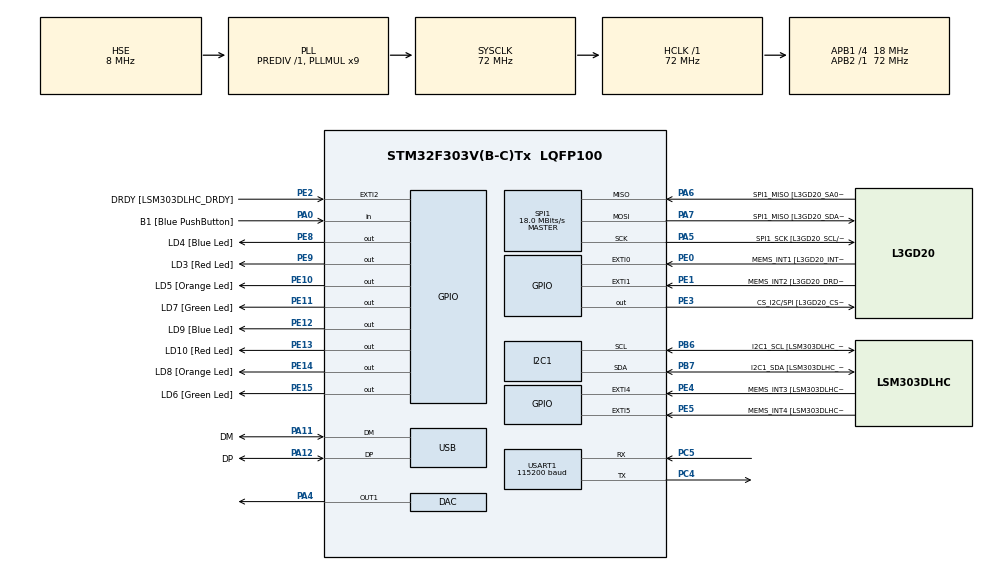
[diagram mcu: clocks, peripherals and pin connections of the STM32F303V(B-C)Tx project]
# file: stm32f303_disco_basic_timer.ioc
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DAC.DAC_Trigger=DAC_TRIGGER_T6_TRGO
Dma.DAC_CH1.0.Direction=DMA_MEMORY_TO_PERIPH
Dma.DAC_CH1.0.Instance=DMA1_Channel3
Dma.DAC_CH1.0.MemDataAlignment=DMA_MDATAALIGN_HALFWORD
Dma.DAC_CH1.0.MemInc=DMA_MINC_ENABLE
Dma.DAC_CH1.0.Mode=DMA_CIRCULAR
Dma.DAC_CH1.0.PeriphDataAlignment=DMA_PDATAALIGN_HALFWORD
Dma.DAC_CH1.0.PeriphInc=DMA_PINC_DISABLE
Dma.DAC_CH1.0.Priority=DMA_PRIORITY_LOW
Dma.Request0=DAC_CH1
I2C1.Timing-I2C=0x2000090E
Mcu.Family=STM32F3
Mcu.Name=STM32F303V(B-C)Tx
Mcu.Package=LQFP100
NVIC.DMA1_Channel3_IRQn=true\:0\:0\:false\:false\:true\:false\:true\:true
NVIC.PriorityGroup=NVIC_PRIORITYGROUP_0
NVIC.TIM7_IRQn=true\:0\:0\:false\:false\:true\:true\:true\:true
PA0.GPIO_Label=B1 [Blue PushButton]
PA0.Signal=GPIO_Input
PA11.GPIO_Label=DM
PA11.Mode=Device
PA11.Signal=USB_DM
PA12.GPIO_Label=DP
PA12.Mode=Device
PA12.Signal=USB_DP
PA13.GPIO_Label=SWDIO
PA13.Mode=Serial_Wire
PA13.Signal=SYS_JTMS-SWDIO
PA14.GPIO_Label=SWCLK
PA14.Mode=Serial_Wire
PA14.Signal=SYS_JTCK-SWCLK
PA4.Signal=COMP_DAC1_group
PA5.GPIO_Label=SPI1_SCK [L3GD20_SCL/SPC]
PA5.Mode=Full_Duplex_Master
PA5.Signal=SPI1_SCK
PA6.GPIO_Label=SPI1_MISO [L3GD20_SA0/SDO]
PA6.Mode=Full_Duplex_Master
PA6.Signal=SPI1_MISO
PA7.GPIO_Label=SPI1_MISO [L3GD20_SDA/SDI/SDO]
PA7.Mode=Full_Duplex_Master
PA7.Signal=SPI1_MOSI
PB3.GPIO_Label=SWO
PB3.Signal=SYS_JTDO-TRACESWO
PB6.GPIO_Label=I2C1_SCL [LSM303DLHC_SCL]
PB6.GPIO_Pu=GPIO_PULLUP
PB6.Mode=I2C
PB6.Signal=I2C1_SCL
PB7.GPIO_Label=I2C1_SDA [LSM303DLHC_SDA]
PB7.GPIO_Pu=GPIO_PULLUP
PB7.Mode=I2C
PB7.Signal=I2C1_SDA
PC14-OSC32_IN.GPIO_Label=OSC32_IN
PC14-OSC32_IN.Signal=RCC_OSC32_IN
PC15-OSC32_OUT.GPIO_Label=OSC32_OUT
PC15-OSC32_OUT.Signal=RCC_OSC32_OUT
PC4.Mode=Asynchronous
PC4.Signal=USART1_TX
PC5.Mode=Asynchronous
PC5.Signal=USART1_RX
PE0.GPIO_Label=MEMS_INT1 [L3GD20_INT1]
PE0.GPIO_ModeDefaultEXTI=GPIO_MODE_EVT_RISING
PE0.Signal=GPXTI0
PE1.GPIO_Label=MEMS_INT2 [L3GD20_DRDY/INT2]
PE1.GPIO_ModeDefaultEXTI=GPIO_MODE_EVT_RISING
PE1.Signal=GPXTI1
PE10.GPIO_Label=LD5 [Orange Led]
PE10.Signal=GPIO_Output
PE11.GPIO_Label=LD7 [Green Led]
PE11.Signal=GPIO_Output
PE12.GPIO_Label=LD9 [Blue Led]
PE12.Signal=GPIO_Output
PE13.GPIO_Label=LD10 [Red Led]
PE13.Signal=GPIO_Output
PE14.GPIO_Label=LD8 [Orange Led]
PE14.Signal=GPIO_Output
PE15.GPIO_Label=LD6 [Green Led]
PE15.Signal=GPIO_Output
PE2.GPIO_Label=DRDY [LSM303DLHC_DRDY]
PE2.GPIO_ModeDefaultEXTI=GPIO_MODE_EVT_RISING
PE2.Signal=GPXTI2
PE3.GPIO_Label=CS_I2C/SPI [L3GD20_CS_I2C/SPI]
PE3.Signal=GPIO_Output
PE4.GPIO_Label=MEMS_INT3 [LSM303DLHC_INT1]
PE4.GPIO_ModeDefaultEXTI=GPIO_MODE_EVT_RISING
PE4.Signal=GPXTI4
PE5.GPIO_Label=MEMS_INT4 [LSM303DLHC_INT2]
PE5.GPIO_ModeDefaultEXTI=GPIO_MODE_EVT_RISING
PE5.Signal=GPXTI5
PE8.GPIO_Label=LD4 [Blue Led]
PE8.Signal=GPIO_Output
PE9.GPIO_Label=LD3 [Red Led]
PE9.Signal=GPIO_Output
PF0-OSC_IN.GPIO_Label=OSC_IN
PF0-OSC_IN.Mode=HSE-External-Clock-Source
PF0-OSC_IN.Signal=RCC_OSC_IN
PF1-OSC_OUT.GPIO_Label=OSC_OUT
PF1-OSC_OUT.Signal=RCC_OSC_OUT
ProjectManager.HeapSize=0x200
ProjectManager.StackSize=0x400
ProjectManager.TargetToolchain=STM32CubeIDE
RCC.AHBFreq_Value=72000000
RCC.APB1CLKDivider=RCC_HCLK_DIV4
RCC.APB1Freq_Value=18000000
RCC.APB1TimFreq_Value=36000000
RCC.APB2Freq_Value=72000000
RCC.APB2TimFreq_Value=72000000
RCC.CortexFreq_Value=72000000
RCC.HCLKFreq_Value=72000000
RCC.HSE_VALUE=8000000
RCC.HSI_VALUE=8000000
RCC.LSE_VALUE=32768
RCC.PLLMUL=RCC_PLL_MUL9
RCC.PRESCALERUSB=RCC_USBCLKSOURCE_PLL_DIV1_5
RCC.SYSCLKFreq_VALUE=72000000
RCC.SYSCLKSourceVirtual=RCC_SYSCLKSOURCE_PLLCLK
RCC.USBFreq_Value=48000000
RCC.Usart1ClockSelection=RCC_USART1CLKSOURCE_SYSCLK
SH.COMP_DAC1_group.0=DAC_OUT1,DAC_OUT1
SPI1.BaudRatePrescaler=SPI_BAUDRATEPRESCALER_4
SPI1.BaudRatePrescaler-Full_Duplex_Master=SPI_BAUDRATEPRESCALER_2
SPI1.CalculateBaudRate=18.0 MBits/s
SPI1.CalculateBaudRate-Full_Duplex_Master=24.0 MBits/s
SPI1.Direction=SPI_DIRECTION_2LINES
SPI1.Mode=SPI_MODE_MASTER
SPI1.Mode-Full_Duplex_Master=SPI_MODE_MASTER
SPI1.VirtualType=VM_MASTER
TIM6.AutoReloadPreload=TIM_AUTORELOAD_PRELOAD_DISABLE
TIM6.Period=500-1
TIM6.Prescaler=36000-1
TIM6.TIM_MasterOutputTrigger=TIM_TRGO_UPDATE
TIM7.Period=1000-1
TIM7.Prescaler=36000-1
USART1.BaudRate=115200
USART1.VirtualMode-Asynchronous=VM_ASYNC
VP_TIM6_VS_ClockSourceINT.Mode=Enable_Timer
VP_TIM7_VS_ClockSourceINT.Mode=Enable_Timer
VP_TIM7_VS_OPM.Mode=OPM_bit
board=STM32F3DISCOVERY

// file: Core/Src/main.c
/* USER CODE BEGIN Header */
/**
  ******************************************************************************
  * @file           : main.c
  * @brief          : Main program body
  ******************************************************************************
  * @attention
  *
  * Copyright (c) 2023 STMicroelectronics.
  * All rights reserved.
  *
  * This software is licensed under terms that can be found in the LICENSE file
  * in the root directory of this software component.
  * If no LICENSE file comes with this software, it is provided AS-IS.
  *
  ******************************************************************************
  */
/* USER CODE END Header */
#include "main.h"
#include "dac.h"
#include "dma.h"
#include "i2c.h"
#include "spi.h"
#include "tim.h"
#include "usart.h"
#include "gpio.h"

/* USER CODE BEGIN Includes */

#include <stdint.h>
#include <stdbool.h>
#include <stdio.h>
#include <stdlib.h>
#include <string.h>
#include "usb.h"

/* USER CODE END Includes */

/* USER CODE BEGIN PV */

int __io_putchar(int ch) {
	uint8_t u8 = ch;
	HAL_StatusTypeDef ret = HAL_UART_Transmit(&huart1, &u8, 1, HAL_MAX_DELAY);
	if(ret == HAL_OK) {
		return 0;
	} else {
		return -1;
	}
}

int __io_getchar(void) {
	uint8_t ch = 0;
	HAL_StatusTypeDef hstatus1;
	HAL_StatusTypeDef hstatus2;
	__HAL_UART_CLEAR_OREFLAG(&huart1);
	hstatus1 = HAL_UART_Receive(&huart1, (uint8_t *)&ch, 1, HAL_MAX_DELAY);
	hstatus2 = HAL_UART_Transmit(&huart1, (uint8_t *)&ch, 1, HAL_MAX_DELAY);
	if((hstatus1 == HAL_OK) && (hstatus2 == HAL_OK)) {
		return ch;
	}
	return -1;
}

// TIM6_DAC_IRQHandler defined as weak symbol in startup.s
// no need to place function pointer in NVIC table
void TIM6_DAC_IRQHandler(void) {
	TIM6->SR = 0;
	HAL_GPIO_TogglePin(LD10_GPIO_Port, LD10_Pin);
	//HAL_TIM_IRQHandler(&htim6);
	//NVIC_ClearPendingIRQ(TIM6_DAC_IRQn);
}

/* USER CODE END PV */

void SystemClock_Config(void);

int main(void)
{

  /* MCU Configuration--------------------------------------------------------*/

  /* Reset of all peripherals, Initializes the Flash interface and the Systick. */
  HAL_Init();

  /* Configure the system clock */
  SystemClock_Config();

  /* Initialize all configured peripherals */
  MX_GPIO_Init();
  MX_DMA_Init();
  MX_I2C1_Init();
  MX_SPI1_Init();
  MX_USB_PCD_Init();
  MX_TIM6_Init();
  MX_TIM7_Init();
  MX_USART1_UART_Init();
  MX_DAC_Init();

  /* Infinite loop */
  /* USER CODE BEGIN WHILE */

  // scanf buffer disabled => _IONBF
  //setvbuf(stdin, NULL, _IONBF, 0);
  // scanf buffer user provided => _IOFBF, evaluated only when full
  uint8_t stdin_buffer[1] = {0};
  setvbuf(stdin, (char*)&stdin_buffer[0], _IOFBF, sizeof(stdin_buffer));

  // NVIC->IP[240] interrupt priority
  // NVIC->ICER[8] clear-enable
  // NVIC->ISER[8] set-enable
  // NVIC->ICPR[8] clear-pending
  // NVIC->ISPR[8] set-pending
  // NVIC->IABR[8] active?

  //HAL_TIM_Base_Start(&htim6); 	// enable timer only
  HAL_TIM_Base_Start_IT(&htim6); 	// enable timer and interrupt
  //TIM6->DIER |= TIM_DIER_UIE; 	// enable interrupt on update event
  //TIM6->CR1 |= TIM_CR1_CEN; 	// enable timer
  HAL_NVIC_EnableIRQ(TIM6_DAC_IRQn); 	// 54 --> refman NVIC vector table

  HAL_TIM_Base_Start_IT(&htim7);
  //HAL_TIMEx_OnePulseN_Start_IT(&htim7, TIM_CHANNEL_1);
  HAL_NVIC_EnableIRQ(TIM7_IRQn); 		// 55 --> refman NVIC vector table

  //HAL_DAC_Start(&hdac, DAC1_CHANNEL_1);
  uint16_t dac_value[16] = {0x0FF, 0x1FF, 0x2FF, 0x3FF, 0x4FF, 0x5FF, 0x6FF, 0x7FF,
		  	  	  	  	    0x8FF, 0x9FF, 0xAFF, 0xBFF,0xCFF, 0xDFF, 0xEFF, 0xFFF};
  HAL_DAC_Start_DMA(&hdac, DAC1_CHANNEL_1, (uint32_t *)&dac_value[0], 16, DAC_ALIGN_12B_R);
  // tim6: Triger Event Selection must be changed to Update Event
  // dac: DAC trigger must be set to Timer6 trigger out event

  uint32_t arr = 500-1;
  uint32_t cnt = 0;
  uint32_t cmd = 0;
  while (1) {
	  HAL_Delay(100);
	  cnt += 1;
	  printf("cnt=%lu, arr=%lu, tim6=%3lu, tim7=%3lu\n", cnt, arr+1, TIM6->CNT, TIM7->CNT);

	  // DMA to DAC1_OUT1
	  //uint32_t dac_value = TIM6->CNT;
	  //uint32_t dac_value = 4095;
	  //HAL_DAC_Start_DMA(&hdac, DAC1_CHANNEL_1, &dac_value, 1, DAC_ALIGN_12B_R);

	  // without DMA
	  //HAL_DAC_SetValue(&hdac, DAC1_CHANNEL_1, DAC_ALIGN_12B_L, 4095<<4);
	  //HAL_DAC_SetValue(&hdac, DAC1_CHANNEL_1, DAC_ALIGN_12B_R, 4095);
	  //HAL_DAC_SetValue(&hdac, DAC1_CHANNEL_1, DAC_ALIGN_8B_R, 255);

	  if(USART1->ISR & USART_ISR_RXNE) {
		  printf(">>> input: ");
		  //
		  //uint8_t b[4] = {0};
		  //fgets((char*)&b[0], 4, stdin);
		  //sscanf((char*)&b[0], "%lu", &cmd);
		  //
		  //uint8_t u8 = 0;
		  //scanf("%01hhd", &u8);
		  //cmd = u8;
		  //scanf("%01lu", &cmd);
		  //
		  //cmd = 0;
		  //fread(&cmd, 1, 1, stdin);
		  //cmd -= '0';
		  //
		  cmd = getchar();
		  cmd -= '0';
		  //
		  printf("<<< input: %lu\n", cmd);
		  switch(cmd) {
		  case 0:
			  // debug
			  HAL_GPIO_TogglePin(LD3_GPIO_Port, LD3_Pin);
			  break;
		  case 1:
			  // reset cnt
			  cnt = 0;
			  break;
		  case 2:
			  if(arr < 9900) {
				  arr += 100;
			  }
			  __disable_irq();
			  HAL_TIM_Base_Stop_IT(&htim6);
			  TIM6->CNT = 0;
			  TIM6->ARR = arr; 	// 0.1s longer
			  HAL_TIM_Base_Start_IT(&htim6);
			  __enable_irq();
			  break;
		  case 3:
			  if(arr > 100) {
				  arr -= 100;
			  }
			  __disable_irq();
			  HAL_TIM_Base_Stop_IT(&htim6);
			  TIM6->CNT = 0;
			  TIM6->ARR = arr; 	// 0.1 shorter
			  HAL_TIM_Base_Start_IT(&htim6);
			  __enable_irq();
			  break;
		  case 4:
			  // basic counter in OPM mode clear CEN when on update event
			  // timer value runs from 0 to ARR and stops => CEN is cleared
			  TIM7->CR1 |= TIM_CR1_CEN;
			  // HAL_TIM_Base_Start(&htim7); 	// not working
			  // HAL_TIM_Base_Start_IT(&htim7); 	// not working
			  //TIM7->EGR = 0; 	// not working
			  break;
		  case 5:
			  TIM7->EGR = 1; 	// generate update event with software
			  break;
		  case 6:
			  TIM7->CR1 |= TIM_CR1_URS_Msk; 	// setting UG will not call interrupt
			  break;
		  case 7:
			  TIM7->CR1 &= ~TIM_CR1_URS_Msk; 	// setting UG will call interrupt
			  break;
		  case 8:
			  TIM7->CR1 &= ~TIM_CR1_UDIS_Msk; 	// update events enabled
			  break;
		  case 9:
			  TIM7->CR1 |= TIM_CR1_UDIS_Msk; 	// update events disabled
			  break;
		  default:
			  break;
		  }
	  }

    /* USER CODE END WHILE */

  }
}

void SystemClock_Config(void)
{
  RCC_OscInitTypeDef RCC_OscInitStruct = {0};
  RCC_ClkInitTypeDef RCC_ClkInitStruct = {0};
  RCC_PeriphCLKInitTypeDef PeriphClkInit = {0};

  /** Initializes the RCC Oscillators according to the specified parameters
  * in the RCC_OscInitTypeDef structure.
  */
  RCC_OscInitStruct.OscillatorType = RCC_OSCILLATORTYPE_HSI|RCC_OSCILLATORTYPE_HSE;
  RCC_OscInitStruct.HSEState = RCC_HSE_BYPASS;
  RCC_OscInitStruct.HSEPredivValue = RCC_HSE_PREDIV_DIV1;
  RCC_OscInitStruct.HSIState = RCC_HSI_ON;
  RCC_OscInitStruct.HSICalibrationValue = RCC_HSICALIBRATION_DEFAULT;
  RCC_OscInitStruct.PLL.PLLState = RCC_PLL_ON;
  RCC_OscInitStruct.PLL.PLLSource = RCC_PLLSOURCE_HSE;
  RCC_OscInitStruct.PLL.PLLMUL = RCC_PLL_MUL9;
  if (HAL_RCC_OscConfig(&RCC_OscInitStruct) != HAL_OK)
  {
    Error_Handler();
  }

  /** Initializes the CPU, AHB and APB buses clocks
  */
  RCC_ClkInitStruct.ClockType = RCC_CLOCKTYPE_HCLK|RCC_CLOCKTYPE_SYSCLK
                              |RCC_CLOCKTYPE_PCLK1|RCC_CLOCKTYPE_PCLK2;
  RCC_ClkInitStruct.SYSCLKSource = RCC_SYSCLKSOURCE_PLLCLK;
  RCC_ClkInitStruct.AHBCLKDivider = RCC_SYSCLK_DIV1;
  RCC_ClkInitStruct.APB1CLKDivider = RCC_HCLK_DIV4;
  RCC_ClkInitStruct.APB2CLKDivider = RCC_HCLK_DIV1;

  if (HAL_RCC_ClockConfig(&RCC_ClkInitStruct, FLASH_LATENCY_2) != HAL_OK)
  {
    Error_Handler();
  }
  PeriphClkInit.PeriphClockSelection = RCC_PERIPHCLK_USB|RCC_PERIPHCLK_USART1
                              |RCC_PERIPHCLK_I2C1;
  PeriphClkInit.Usart1ClockSelection = RCC_USART1CLKSOURCE_SYSCLK;
  PeriphClkInit.I2c1ClockSelection = RCC_I2C1CLKSOURCE_HSI;
  PeriphClkInit.USBClockSelection = RCC_USBCLKSOURCE_PLL_DIV1_5;
  if (HAL_RCCEx_PeriphCLKConfig(&PeriphClkInit) != HAL_OK)
  {
    Error_Handler();
  }
}

void Error_Handler(void)
{
  __disable_irq();
  while (1)
  {
  }
}
